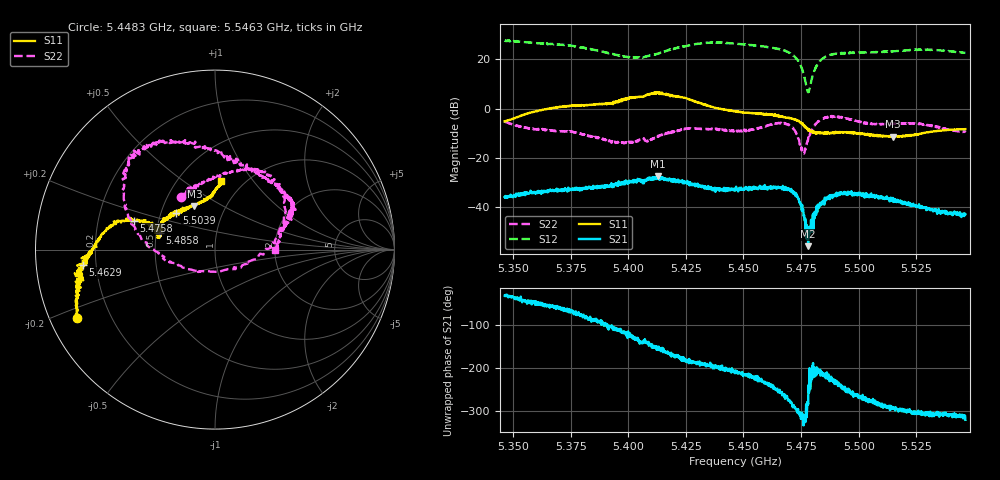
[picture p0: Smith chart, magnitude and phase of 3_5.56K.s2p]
# Hz  S  DB  R  50
! ADVANTEST Corporation R3860A
! Date: Wed Apr 11 19:52:40 2007
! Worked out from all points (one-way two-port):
!   1601 points, 5.3463 GHz to 5.5463 GHz, reference 50 ohm
!   highest |S21| = -27.34 dB at 5.4128 GHz (marker M1); lowest = -55.7 dB at 5.4781 GHz (marker M2)
!   lowest |S11| = -11.4 dB at 5.5148 GHz (marker M3), VSWR 1.74, Z = 35.6 + j18.7 ohm
!   |S11| at or under -10 dB: 5.48716 GHz to 5.487736 GHz (576.4 kHz wide, 0.0105 % of centre); 5.500605 GHz to 5.501284 GHz (679 kHz wide, 0.0123 % of centre); 5.501323 GHz to 5.527183 GHz (25.86 MHz wide, 0.469 % of centre) (the widest 3 of 16)
!   |S22| runs from -18.2 to -2.9 dB; largest |S21 - S12| = 24
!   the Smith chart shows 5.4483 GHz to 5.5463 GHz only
!   S11 on the Smith chart (normalised r, x): 5.4483 GHz: 0.08, -0.23; 5.4629 GHz: 0.15, -0.06; 5.4758 GHz: 0.36, +0.15; 5.4858 GHz: 0.52, +0.11; 5.5039 GHz: 0.60, +0.27; 5.5463 GHz: 0.79, +0.71
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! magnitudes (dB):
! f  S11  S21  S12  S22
! 5.3463 GHz  -5.2  -35.8  27.6  -5.2
! 5.3797 GHz  1.5  -32.5  24.8  -10.2
! 5.3967 GHz  3.2  -29.9  21.4  -13.9
! 5.4128 GHz  6.5  -27.3  22.3  -11.2
! 5.4131 GHz  6.5  -28.0  22.3  -11.0
! 5.4259 GHz  3.9  -30.0  25.5  -8.1
! 5.4463 GHz  -1.1  -32.3  26.3  -9.1
! 5.4483 GHz  -1.3  -32.5  26.2  -9.1
! 5.4629 GHz  -2.6  -32.2  24.6  -6.4
! 5.4708 GHz  -4.0  -32.9  22.2  -7.3
! 5.4737 GHz  -5.0  -36.2  19.4  -12.0
! 5.4758 GHz  -6.4  -40.9  14.9  -18.0
! 5.4771 GHz  -7.4  -45.7  10.1  -15.6
! 5.4781 GHz  -8.2  -55.7  6.6  -12.3
! 5.4797 GHz  -9.2  -45.3  12.3  -8.4
! 5.4827 GHz  -9.9  -39.9  18.7  -5.1
! 5.4858 GHz  -9.9  -37.1  21.2  -3.6
! 5.4931 GHz  -9.6  -34.2  22.4  -3.7
! 5.5039 GHz  -10.5  -35.7  22.8  -6.1
! 5.5131 GHz  -11.2  -36.7  23.1  -6.1
! 5.5148 GHz  -11.4  -36.2  23.3  -6.0
! 5.5463 GHz  -8.3  -42.8  22.6  -9.5
